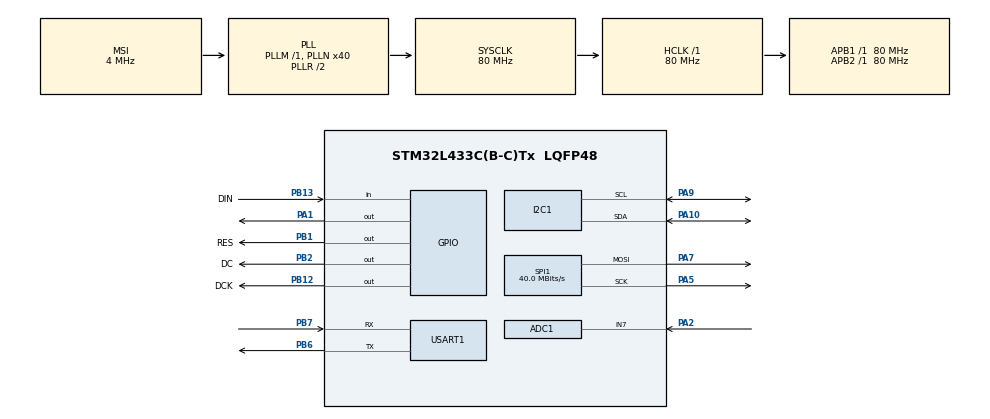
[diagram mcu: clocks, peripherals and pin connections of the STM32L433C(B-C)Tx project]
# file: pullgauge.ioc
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ADC1.Channel-0\#ChannelRegularConversion=ADC_CHANNEL_7
ADC1.NbrOfConversionFlag=1
ADC1.OffsetNumber-0\#ChannelRegularConversion=ADC_OFFSET_NONE
ADC1.Rank-0\#ChannelRegularConversion=1
ADC1.SamplingTime-0\#ChannelRegularConversion=ADC_SAMPLETIME_2CYCLES_5
ADC1.master=1
FREERTOS.Tasks01=defaultTask,24,128,StartDefaultTask,Default,NULL,Dynamic,NULL,NULL
FREERTOS.configUSE_NEWLIB_REENTRANT=1
I2C1.Timing=0x10909CEC
Mcu.Family=STM32L4
Mcu.Name=STM32L433C(B-C)Tx
Mcu.Package=LQFP48
NVIC.PriorityGroup=NVIC_PRIORITYGROUP_4
NVIC.TIM6_DAC_IRQn=true\:15\:0\:false\:false\:true\:false\:false\:true\:true
NVIC.TimeBase=TIM6_DAC_IRQn
NVIC.TimeBaseIP=TIM6
PA1.Signal=GPIO_Output
PA10.Mode=I2C
PA10.Signal=I2C1_SDA
PA13\ (JTMS-SWDIO).Mode=Serial_Wire
PA13\ (JTMS-SWDIO).Signal=SYS_JTMS-SWDIO
PA14\ (JTCK-SWCLK).Mode=Serial_Wire
PA14\ (JTCK-SWCLK).Signal=SYS_JTCK-SWCLK
PA2.Signal=ADCx_IN7
PA5.Mode=TX_Only_Simplex_Unidirect_Master
PA5.Signal=SPI1_SCK
PA7.Mode=TX_Only_Simplex_Unidirect_Master
PA7.Signal=SPI1_MOSI
PA9.Mode=I2C
PA9.Signal=I2C1_SCL
PB1.GPIO_Label=RES
PB1.GPIO_Speed=GPIO_SPEED_FREQ_HIGH
PB1.Signal=GPIO_Output
PB12.GPIO_Label=DCK
PB12.Signal=GPIO_Output
PB13.GPIO_Label=DIN
PB13.Signal=GPIO_Input
PB2.GPIO_Label=DC
PB2.GPIO_Speed=GPIO_SPEED_FREQ_HIGH
PB2.Signal=GPIO_Output
PB6.Mode=Asynchronous
PB6.Signal=USART1_TX
PB7.Mode=Asynchronous
PB7.Signal=USART1_RX
PC14-OSC32_IN\ (PC14).Mode=LSE-External-Oscillator
PC14-OSC32_IN\ (PC14).Signal=RCC_OSC32_IN
PC15-OSC32_OUT\ (PC15).Mode=LSE-External-Oscillator
PC15-OSC32_OUT\ (PC15).Signal=RCC_OSC32_OUT
PH0-OSC_IN\ (PH0).Mode=HSE-External-Oscillator
PH0-OSC_IN\ (PH0).Signal=RCC_OSC_IN
PH1-OSC_OUT\ (PH1).Mode=HSE-External-Oscillator
PH1-OSC_OUT\ (PH1).Signal=RCC_OSC_OUT
ProjectManager.HeapSize=0x200
ProjectManager.StackSize=0x400
ProjectManager.TargetToolchain=STM32CubeIDE
RCC.ADCFreq_Value=48000000
RCC.AHBFreq_Value=80000000
RCC.APB1Freq_Value=80000000
RCC.APB1TimFreq_Value=80000000
RCC.APB2Freq_Value=80000000
RCC.APB2TimFreq_Value=80000000
RCC.CortexFreq_Value=80000000
RCC.HCLKFreq_Value=80000000
RCC.HSE_VALUE=8000000
RCC.HSI48_VALUE=48000000
RCC.HSI_VALUE=16000000
RCC.MSI_VALUE=4000000
RCC.PLLN=40
RCC.PLLSAI1N=24
RCC.SYSCLKFreq_VALUE=80000000
RCC.SYSCLKSource=RCC_SYSCLKSOURCE_PLLCLK
RCC.USBFreq_Value=48000000
RCC.VCOOutputFreq_Value=160000000
SH.ADCx_IN7.0=ADC1_IN7,IN7-Single-Ended
SPI1.BaudRatePrescaler=SPI_BAUDRATEPRESCALER_2
SPI1.CalculateBaudRate=40.0 MBits/s
SPI1.DataSize=SPI_DATASIZE_8BIT
SPI1.Direction=SPI_DIRECTION_2LINES
SPI1.Mode=SPI_MODE_MASTER
SPI1.VirtualType=VM_MASTER
USART1.VirtualMode-Asynchronous=VM_ASYNC
VP_FREERTOS_VS_CMSIS_V2.Mode=CMSIS_V2
VP_SYS_VS_tim6.Mode=TIM6
board=custom

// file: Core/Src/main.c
/* USER CODE BEGIN Header */
/**
  ******************************************************************************
  * @file           : main.c
  * @brief          : Main program body
  ******************************************************************************
  * @attention
  *
  * Copyright (c) 2022 STMicroelectronics.
  * All rights reserved.
  *
  * This software is licensed under terms that can be found in the LICENSE file
  * in the root directory of this software component.
  * If no LICENSE file comes with this software, it is provided AS-IS.
  *
  ******************************************************************************
  */
/* USER CODE END Header */
#include "main.h"
#include "cmsis_os.h"

/* USER CODE BEGIN Includes */
#include "oled.h"
#include <stdio.h>
#include "lvgl.h"
/* USER CODE END Includes */

/* USER CODE BEGIN PM */
#define BUFF_SIZE 1024
/* USER CODE END PM */

ADC_HandleTypeDef hadc1;

I2C_HandleTypeDef hi2c1;

SPI_HandleTypeDef hspi1;

UART_HandleTypeDef huart1;

/* Definitions for defaultTask */
osThreadId_t defaultTaskHandle;
const osThreadAttr_t defaultTask_attributes = {
  .name = "defaultTask",
  .stack_size = 128 * 4,
  .priority = (osPriority_t) osPriorityNormal,
};
/* USER CODE BEGIN PV */
osThreadId_t defaultOledHandle;
const osThreadAttr_t defaultOled_attributes = {
  .name = "oledRefresh",
  .stack_size = 128 * 4,
  .priority = (osPriority_t) osPriorityNormal,
};

//Thread Handles
osThreadId_t lvgl_timerHandle;

const osThreadAttr_t defaultLvglTimer_attributes = {
  .name = "lvglTimer",
  .stack_size = 1024 * 2,
  .priority = (osPriority_t) osPriorityNormal,
};

//Frame buffers
/*A static or global variable to store the buffers*/
static lv_disp_draw_buf_t disp_buf;

/*Static or global buffer(s). The second buffer is optional*/
static lv_color_t buf_1[BUFF_SIZE]; //TODO: Declare your own BUFF_SIZE appropriate to your system.
static lv_color_t buf_2[BUFF_SIZE];

/* USER CODE END PV */

void SystemClock_Config(void);
static void MX_GPIO_Init(void);
static void MX_SPI1_Init(void);
static void MX_ADC1_Init(void);
static void MX_I2C1_Init(void);
static void MX_USART1_UART_Init(void);
void StartDefaultTask(void *argument);

/* USER CODE BEGIN PFP */
void OledRefreshTask(void *argument);
void LVGLTimer(void * argument);
void LVGLTick(void * argument);
void flush_cb(lv_disp_drv_t * disp_drv, const lv_area_t * area, lv_color_t * color_p);
void set_px_cb(lv_disp_drv_t * disp_drv, uint8_t * buf, lv_coord_t buf_w, lv_coord_t x, lv_coord_t y,
            lv_color_t color, lv_opa_t opa);
void rounder_cb(lv_disp_drv_t * disp_drv, lv_area_t *area);

/* USER CODE END PFP */

/* USER CODE BEGIN 0 */

static void set_angle(void * obj, int32_t v)
{
    lv_arc_set_value(obj, v);
}

/**
 * Create an arc which acts as a loader.
 */
void lv_example_arc_2(void)
{
    /*Create an Arc*/
    lv_obj_t * arc = lv_arc_create(lv_scr_act());
    lv_arc_set_rotation(arc, 270);
    lv_arc_set_bg_angles(arc, 0, 360);
    lv_obj_remove_style(arc, NULL, LV_PART_KNOB);   /*Be sure the knob is not displayed*/
    lv_obj_clear_flag(arc, LV_OBJ_FLAG_CLICKABLE);  /*To not allow adjusting by click*/
    lv_obj_set_size(arc,60,30);
    lv_obj_center(arc);

    lv_anim_t a;
    lv_anim_init(&a);
    lv_anim_set_var(&a, arc);
    lv_anim_set_exec_cb(&a, set_angle);
    lv_anim_set_time(&a, 1000);
    lv_anim_set_repeat_count(&a, LV_ANIM_REPEAT_INFINITE);    /*Just for the demo*/
    lv_anim_set_repeat_delay(&a, 500);
    lv_anim_set_values(&a, 0, 100);
    lv_anim_start(&a);
}

/* USER CODE END 0 */

int main(void)
{

  /* MCU Configuration--------------------------------------------------------*/

  /* Reset of all peripherals, Initializes the Flash interface and the Systick. */
  HAL_Init();

  /* Configure the system clock */
  SystemClock_Config();

  /* Initialize all configured peripherals */
  MX_GPIO_Init();
  MX_SPI1_Init();
  MX_ADC1_Init();
  MX_I2C1_Init();
  MX_USART1_UART_Init();
  /* USER CODE BEGIN 2 */

  OLED_SSD1306_Init();

  //Initialise LVGL UI library
  lv_init();
  lv_disp_draw_buf_init(&disp_buf, buf_1, buf_2, BUFF_SIZE);

  static lv_disp_drv_t disp_drv;          /*A variable to hold the drivers. Must be static or global.*/
  lv_disp_drv_init(&disp_drv);            /*Basic initialization*/
  disp_drv.draw_buf = &disp_buf;          /*Set an initialized buffer*/
  disp_drv.flush_cb = flush_cb;        /*Set a flush callback to draw to the display*/
  disp_drv.set_px_cb = set_px_cb;
  disp_drv.rounder_cb = rounder_cb;
  disp_drv.hor_res = 128;                 /*Set the horizontal resolution in pixels*/
  disp_drv.ver_res = 64;                 /*Set the vertical resolution in pixels*/

  lv_disp_t * disp;
  disp = lv_disp_drv_register(&disp_drv); /*Register the driver and save the created display objects*/

  lv_theme_t* theme = lv_theme_mono_init(disp, false, &lv_font_montserrat_8);
  lv_disp_set_theme(disp, theme);

  lv_example_arc_2();
  /* USER CODE END 2 */

  /* Init scheduler */
  osKernelInitialize();

  /* Create the thread(s) */
  /* creation of defaultTask */
  defaultTaskHandle = osThreadNew(StartDefaultTask, NULL, &defaultTask_attributes);

  /* USER CODE BEGIN RTOS_THREADS */
  /* add threads, ... */
  //defaultOledHandle = osThreadNew(OledRefreshTask, NULL, &defaultOled_attributes);
  lvgl_timerHandle = osThreadNew(LVGLTimer, NULL, &defaultLvglTimer_attributes);

  /* USER CODE END RTOS_THREADS */

  /* Start scheduler */
  osKernelStart();

  /* We should never get here as control is now taken by the scheduler */
  /* Infinite loop */
  while (1)
  {

  }
}

void SystemClock_Config(void)
{
  RCC_OscInitTypeDef RCC_OscInitStruct = {0};
  RCC_ClkInitTypeDef RCC_ClkInitStruct = {0};

  /** Configure the main internal regulator output voltage
  */
  if (HAL_PWREx_ControlVoltageScaling(PWR_REGULATOR_VOLTAGE_SCALE1) != HAL_OK)
  {
    Error_Handler();
  }

  /** Configure LSE Drive Capability
  */
  HAL_PWR_EnableBkUpAccess();
  __HAL_RCC_LSEDRIVE_CONFIG(RCC_LSEDRIVE_LOW);

  /** Initializes the RCC Oscillators according to the specified parameters
  * in the RCC_OscInitTypeDef structure.
  */
  RCC_OscInitStruct.OscillatorType = RCC_OSCILLATORTYPE_LSE|RCC_OSCILLATORTYPE_MSI;
  RCC_OscInitStruct.LSEState = RCC_LSE_ON;
  RCC_OscInitStruct.MSIState = RCC_MSI_ON;
  RCC_OscInitStruct.MSICalibrationValue = 0;
  RCC_OscInitStruct.MSIClockRange = RCC_MSIRANGE_6;
  RCC_OscInitStruct.PLL.PLLState = RCC_PLL_ON;
  RCC_OscInitStruct.PLL.PLLSource = RCC_PLLSOURCE_MSI;
  RCC_OscInitStruct.PLL.PLLM = 1;
  RCC_OscInitStruct.PLL.PLLN = 40;
  RCC_OscInitStruct.PLL.PLLP = RCC_PLLP_DIV7;
  RCC_OscInitStruct.PLL.PLLQ = RCC_PLLQ_DIV2;
  RCC_OscInitStruct.PLL.PLLR = RCC_PLLR_DIV2;
  if (HAL_RCC_OscConfig(&RCC_OscInitStruct) != HAL_OK)
  {
    Error_Handler();
  }

  /** Initializes the CPU, AHB and APB buses clocks
  */
  RCC_ClkInitStruct.ClockType = RCC_CLOCKTYPE_HCLK|RCC_CLOCKTYPE_SYSCLK
                              |RCC_CLOCKTYPE_PCLK1|RCC_CLOCKTYPE_PCLK2;
  RCC_ClkInitStruct.SYSCLKSource = RCC_SYSCLKSOURCE_PLLCLK;
  RCC_ClkInitStruct.AHBCLKDivider = RCC_SYSCLK_DIV1;
  RCC_ClkInitStruct.APB1CLKDivider = RCC_HCLK_DIV1;
  RCC_ClkInitStruct.APB2CLKDivider = RCC_HCLK_DIV1;

  if (HAL_RCC_ClockConfig(&RCC_ClkInitStruct, FLASH_LATENCY_4) != HAL_OK)
  {
    Error_Handler();
  }

  /** Enable MSI Auto calibration
  */
  HAL_RCCEx_EnableMSIPLLMode();
}

static void MX_ADC1_Init(void)
{

  ADC_ChannelConfTypeDef sConfig = {0};

  /** Common config
  */
  hadc1.Instance = ADC1;
  hadc1.Init.ClockPrescaler = ADC_CLOCK_ASYNC_DIV1;
  hadc1.Init.Resolution = ADC_RESOLUTION_12B;
  hadc1.Init.DataAlign = ADC_DATAALIGN_RIGHT;
  hadc1.Init.ScanConvMode = ADC_SCAN_DISABLE;
  hadc1.Init.EOCSelection = ADC_EOC_SINGLE_CONV;
  hadc1.Init.LowPowerAutoWait = DISABLE;
  hadc1.Init.ContinuousConvMode = DISABLE;
  hadc1.Init.NbrOfConversion = 1;
  hadc1.Init.DiscontinuousConvMode = DISABLE;
  hadc1.Init.ExternalTrigConv = ADC_SOFTWARE_START;
  hadc1.Init.ExternalTrigConvEdge = ADC_EXTERNALTRIGCONVEDGE_NONE;
  hadc1.Init.DMAContinuousRequests = DISABLE;
  hadc1.Init.Overrun = ADC_OVR_DATA_PRESERVED;
  hadc1.Init.OversamplingMode = DISABLE;
  if (HAL_ADC_Init(&hadc1) != HAL_OK)
  {
    Error_Handler();
  }

  /** Configure Regular Channel
  */
  sConfig.Channel = ADC_CHANNEL_7;
  sConfig.Rank = ADC_REGULAR_RANK_1;
  sConfig.SamplingTime = ADC_SAMPLETIME_2CYCLES_5;
  sConfig.SingleDiff = ADC_SINGLE_ENDED;
  sConfig.OffsetNumber = ADC_OFFSET_NONE;
  sConfig.Offset = 0;
  if (HAL_ADC_ConfigChannel(&hadc1, &sConfig) != HAL_OK)
  {
    Error_Handler();
  }

}

static void MX_I2C1_Init(void)
{

  hi2c1.Instance = I2C1;
  hi2c1.Init.Timing = 0x10909CEC;
  hi2c1.Init.OwnAddress1 = 0;
  hi2c1.Init.AddressingMode = I2C_ADDRESSINGMODE_7BIT;
  hi2c1.Init.DualAddressMode = I2C_DUALADDRESS_DISABLE;
  hi2c1.Init.OwnAddress2 = 0;
  hi2c1.Init.OwnAddress2Masks = I2C_OA2_NOMASK;
  hi2c1.Init.GeneralCallMode = I2C_GENERALCALL_DISABLE;
  hi2c1.Init.NoStretchMode = I2C_NOSTRETCH_DISABLE;
  if (HAL_I2C_Init(&hi2c1) != HAL_OK)
  {
    Error_Handler();
  }

  /** Configure Analogue filter
  */
  if (HAL_I2CEx_ConfigAnalogFilter(&hi2c1, I2C_ANALOGFILTER_ENABLE) != HAL_OK)
  {
    Error_Handler();
  }

  /** Configure Digital filter
  */
  if (HAL_I2CEx_ConfigDigitalFilter(&hi2c1, 0) != HAL_OK)
  {
    Error_Handler();
  }

}

static void MX_SPI1_Init(void)
{

  /* SPI1 parameter configuration*/
  hspi1.Instance = SPI1;
  hspi1.Init.Mode = SPI_MODE_MASTER;
  hspi1.Init.Direction = SPI_DIRECTION_2LINES;
  hspi1.Init.DataSize = SPI_DATASIZE_8BIT;
  hspi1.Init.CLKPolarity = SPI_POLARITY_LOW;
  hspi1.Init.CLKPhase = SPI_PHASE_1EDGE;
  hspi1.Init.NSS = SPI_NSS_SOFT;
  hspi1.Init.BaudRatePrescaler = SPI_BAUDRATEPRESCALER_2;
  hspi1.Init.FirstBit = SPI_FIRSTBIT_MSB;
  hspi1.Init.TIMode = SPI_TIMODE_DISABLE;
  hspi1.Init.CRCCalculation = SPI_CRCCALCULATION_DISABLE;
  hspi1.Init.CRCPolynomial = 7;
  hspi1.Init.CRCLength = SPI_CRC_LENGTH_DATASIZE;
  hspi1.Init.NSSPMode = SPI_NSS_PULSE_ENABLE;
  if (HAL_SPI_Init(&hspi1) != HAL_OK)
  {
    Error_Handler();
  }

}

static void MX_USART1_UART_Init(void)
{

  huart1.Instance = USART1;
  huart1.Init.BaudRate = 115200;
  huart1.Init.WordLength = UART_WORDLENGTH_8B;
  huart1.Init.StopBits = UART_STOPBITS_1;
  huart1.Init.Parity = UART_PARITY_NONE;
  huart1.Init.Mode = UART_MODE_TX_RX;
  huart1.Init.HwFlowCtl = UART_HWCONTROL_NONE;
  huart1.Init.OverSampling = UART_OVERSAMPLING_16;
  huart1.Init.OneBitSampling = UART_ONE_BIT_SAMPLE_DISABLE;
  huart1.AdvancedInit.AdvFeatureInit = UART_ADVFEATURE_NO_INIT;
  if (HAL_UART_Init(&huart1) != HAL_OK)
  {
    Error_Handler();
  }

}

static void MX_GPIO_Init(void)
{
  GPIO_InitTypeDef GPIO_InitStruct = {0};

  /* GPIO Ports Clock Enable */
  __HAL_RCC_GPIOC_CLK_ENABLE();
  __HAL_RCC_GPIOH_CLK_ENABLE();
  __HAL_RCC_GPIOA_CLK_ENABLE();
  __HAL_RCC_GPIOB_CLK_ENABLE();

  /*Configure GPIO pin Output Level */
  HAL_GPIO_WritePin(GPIOA, GPIO_PIN_1, GPIO_PIN_RESET);

  /*Configure GPIO pin Output Level */
  HAL_GPIO_WritePin(GPIOB, RES_Pin|DC_Pin|DCK_Pin, GPIO_PIN_RESET);

  /*Configure GPIO pin : PA1 */
  GPIO_InitStruct.Pin = GPIO_PIN_1;
  GPIO_InitStruct.Mode = GPIO_MODE_OUTPUT_PP;
  GPIO_InitStruct.Pull = GPIO_NOPULL;
  GPIO_InitStruct.Speed = GPIO_SPEED_FREQ_LOW;
  HAL_GPIO_Init(GPIOA, &GPIO_InitStruct);

  /*Configure GPIO pins : RES_Pin DC_Pin */
  GPIO_InitStruct.Pin = RES_Pin|DC_Pin;
  GPIO_InitStruct.Mode = GPIO_MODE_OUTPUT_PP;
  GPIO_InitStruct.Pull = GPIO_NOPULL;
  GPIO_InitStruct.Speed = GPIO_SPEED_FREQ_HIGH;
  HAL_GPIO_Init(GPIOB, &GPIO_InitStruct);

  /*Configure GPIO pin : DCK_Pin */
  GPIO_InitStruct.Pin = DCK_Pin;
  GPIO_InitStruct.Mode = GPIO_MODE_OUTPUT_PP;
  GPIO_InitStruct.Pull = GPIO_NOPULL;
  GPIO_InitStruct.Speed = GPIO_SPEED_FREQ_LOW;
  HAL_GPIO_Init(DCK_GPIO_Port, &GPIO_InitStruct);

  /*Configure GPIO pin : DIN_Pin */
  GPIO_InitStruct.Pin = DIN_Pin;
  GPIO_InitStruct.Mode = GPIO_MODE_INPUT;
  GPIO_InitStruct.Pull = GPIO_NOPULL;
  HAL_GPIO_Init(DIN_GPIO_Port, &GPIO_InitStruct);

}

/* USER CODE BEGIN 4 */
void OledRefreshTask(void *argument)
{
  /*
   * Initialize SSD1306
   */
  uint32_t cnt = 0;
  uint32_t last_tick;
  uint32_t begin_tick = 0;
  char fps[8];
  /* Infinite loop */
  for(;;)
  {

    /*
     * Refresh display RAM
     */
    cnt += 1;
    last_tick = HAL_GetTick();
    if(last_tick - begin_tick > 500) {
      begin_tick = last_tick;
      sprintf(fps, "%ld",cnt * 2);
      cnt = 0;
    }
    gram_clear();
    gram_draw_num_string_12x12(60,20, fps);
    oled_refresh();
    osDelay(30);

  }
}

/* LVGL timer for tasks. */
void LVGLTimer(void * argument)
{
  for(;;)
  {
    lv_timer_handler();
    osDelay(20);
  }
}

void flush_cb(lv_disp_drv_t *disp_drv, const lv_area_t *area,
    lv_color_t *color_p) {
  uint8_t row1 = area->y1 >> 3;
  uint8_t row2 = area->y2 >> 3;
  uint8_t *buf = (uint8_t*) color_p;

  for (uint8_t row = row1; row <= row2; row++) {
    OLED_Set_Pos(area->x1, row);
    for (uint16_t x = area->x1; x <= area->x2; x++) {
      OLED_WR_Byte(*buf, 1);
      buf++;
    }
  }

  /* IMPORTANT!!!
   * Inform the graphics library that you are ready with the flushing*/
  lv_disp_flush_ready(disp_drv);
}

#define BIT_SET(a,b) ((a) |= (1U<<(b)))
#define BIT_CLEAR(a,b) ((a) &= ~(1U<<(b)))

void set_px_cb(lv_disp_drv_t * disp_drv, uint8_t * buf, lv_coord_t buf_w, lv_coord_t x, lv_coord_t y,
            lv_color_t color, lv_opa_t opa) {
  uint16_t byte_index = x + (( y>>3 ) * buf_w);
  uint8_t  bit_index  = y & 0x7;
  // == 0 inverts, so we get blue on black
  if ( color.full == 0 ) {
    BIT_SET( buf[ byte_index ] , bit_index );
  }
  else {
    BIT_CLEAR( buf[ byte_index ] , bit_index );
  }
}

void rounder_cb(lv_disp_drv_t * disp_drv, lv_area_t *area) {
  area->y1 = (area->y1 & (~0x7));
  area->y2 = (area->y2 & (~0x7)) + 7;
}

/* USER CODE END 4 */

void StartDefaultTask(void *argument)
{
  /* USER CODE BEGIN 5 */
  //https://github.com/mnemocron/STM32-Tutorial/blob/master/STM32%20Tutorial%2002%20-%20PWM%20Generation%20using%20HAL%20(and%20FreeRTOS).pdf
  /* Infinite loop */
  for(;;)
  {
    HAL_GPIO_TogglePin(GPIOA, GPIO_PIN_1);
    osDelay(500);
  }
  /* USER CODE END 5 */
}

void HAL_TIM_PeriodElapsedCallback(TIM_HandleTypeDef *htim)
{
  if (htim->Instance == TIM6) {
    HAL_IncTick();
  }
}

void Error_Handler(void)
{
  __disable_irq();
  while (1)
  {
  }
}
